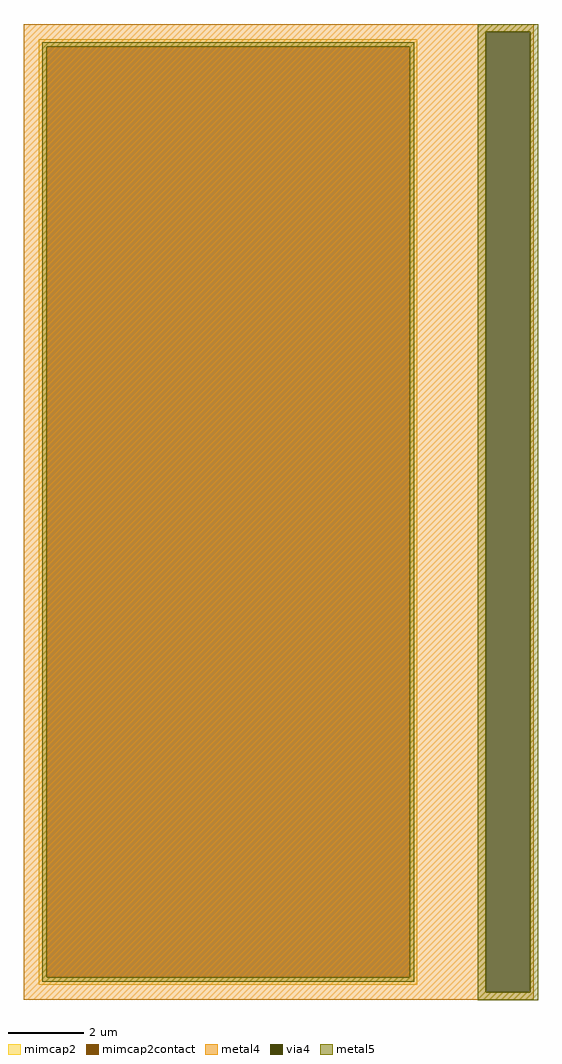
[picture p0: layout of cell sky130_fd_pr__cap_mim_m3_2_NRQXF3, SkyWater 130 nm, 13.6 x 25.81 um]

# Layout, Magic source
magic
tech sky130A
magscale 1 2
<< metal4 >>
rect -1349 2539 1349 2580
rect -1349 -2539 1093 2539
rect 1329 -2539 1349 2539
rect -1349 -2580 1349 -2539
<< via4 >>
rect 1093 -2539 1329 2539
<< mimcap2 >>
rect -1269 2460 731 2500
rect -1269 -2460 -1229 2460
rect 691 -2460 731 2460
rect -1269 -2500 731 -2460
<< mimcap2contact >>
rect -1229 -2460 691 2460
<< metal5 >>
rect 1051 2539 1371 2581
rect -1253 2460 715 2484
rect -1253 -2460 -1229 2460
rect 691 -2460 715 2460
rect -1253 -2484 715 -2460
rect 1051 -2539 1093 2539
rect 1329 -2539 1371 2539
rect 1051 -2581 1371 -2539
<< properties >>
string FIXED_BBOX -1349 -2580 811 2580
string gencell sky130_fd_pr__cap_mim_m3_2
string library sky130
string parameters w 10.0 l 25.0 val 513.299 carea 2.00 cperi 0.19 nx 1 ny 1 dummy 0 square 0 lmin 2.00 wmin 2.00 lmax 30.0 wmax 30.0 dc 0 bconnect 1 tconnect 1 ccov 100
<< end >>
